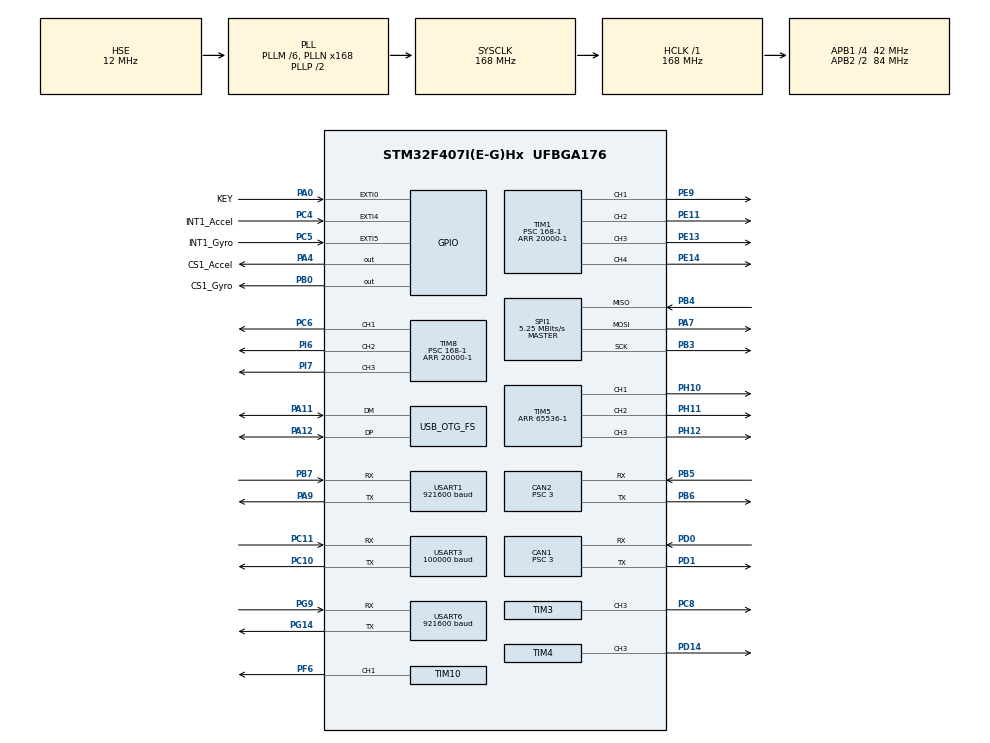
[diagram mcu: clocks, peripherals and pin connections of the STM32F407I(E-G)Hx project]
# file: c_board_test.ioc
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CAN1.BS1=CAN_BS1_10TQ
CAN1.BS2=CAN_BS2_3TQ
CAN1.CalculateBaudRate=1000000
CAN1.CalculateTimeBit=1000
CAN1.CalculateTimeQuantum=71.42857142857143
CAN1.NART=ENABLE
CAN1.Prescaler=3
CAN2.BS1=CAN_BS1_10TQ
CAN2.BS2=CAN_BS2_3TQ
CAN2.CalculateBaudRate=1000000
CAN2.CalculateTimeBit=1000
CAN2.CalculateTimeQuantum=71.42857142857143
CAN2.NART=ENABLE
CAN2.Prescaler=3
Dma.Request0=USART3_RX
Dma.Request1=USART1_RX
Dma.Request2=USART1_TX
Dma.Request3=USART6_RX
Dma.Request4=USART6_TX
Dma.Request5=SPI1_RX
Dma.Request6=SPI1_TX
Dma.SPI1_RX.5.Direction=DMA_PERIPH_TO_MEMORY
Dma.SPI1_RX.5.FIFOMode=DMA_FIFOMODE_DISABLE
Dma.SPI1_RX.5.Instance=DMA2_Stream0
Dma.SPI1_RX.5.MemDataAlignment=DMA_MDATAALIGN_BYTE
Dma.SPI1_RX.5.MemInc=DMA_MINC_ENABLE
Dma.SPI1_RX.5.Mode=DMA_NORMAL
Dma.SPI1_RX.5.PeriphDataAlignment=DMA_PDATAALIGN_BYTE
Dma.SPI1_RX.5.PeriphInc=DMA_PINC_DISABLE
Dma.SPI1_RX.5.Priority=DMA_PRIORITY_VERY_HIGH
Dma.SPI1_TX.6.Direction=DMA_MEMORY_TO_PERIPH
Dma.SPI1_TX.6.FIFOMode=DMA_FIFOMODE_DISABLE
Dma.SPI1_TX.6.Instance=DMA2_Stream3
Dma.SPI1_TX.6.MemDataAlignment=DMA_MDATAALIGN_BYTE
Dma.SPI1_TX.6.MemInc=DMA_MINC_ENABLE
Dma.SPI1_TX.6.Mode=DMA_NORMAL
Dma.SPI1_TX.6.PeriphDataAlignment=DMA_PDATAALIGN_BYTE
Dma.SPI1_TX.6.PeriphInc=DMA_PINC_DISABLE
Dma.SPI1_TX.6.Priority=DMA_PRIORITY_VERY_HIGH
Dma.USART1_RX.1.Direction=DMA_PERIPH_TO_MEMORY
Dma.USART1_RX.1.FIFOMode=DMA_FIFOMODE_DISABLE
Dma.USART1_RX.1.Instance=DMA2_Stream2
Dma.USART1_RX.1.MemDataAlignment=DMA_MDATAALIGN_BYTE
Dma.USART1_RX.1.MemInc=DMA_MINC_ENABLE
Dma.USART1_RX.1.Mode=DMA_NORMAL
Dma.USART1_RX.1.PeriphDataAlignment=DMA_PDATAALIGN_BYTE
Dma.USART1_RX.1.PeriphInc=DMA_PINC_DISABLE
Dma.USART1_RX.1.Priority=DMA_PRIORITY_MEDIUM
Dma.USART1_TX.2.Direction=DMA_MEMORY_TO_PERIPH
Dma.USART1_TX.2.FIFOMode=DMA_FIFOMODE_DISABLE
Dma.USART1_TX.2.Instance=DMA2_Stream7
Dma.USART1_TX.2.MemDataAlignment=DMA_MDATAALIGN_BYTE
Dma.USART1_TX.2.MemInc=DMA_MINC_ENABLE
Dma.USART1_TX.2.Mode=DMA_NORMAL
Dma.USART1_TX.2.PeriphDataAlignment=DMA_PDATAALIGN_BYTE
Dma.USART1_TX.2.PeriphInc=DMA_PINC_DISABLE
Dma.USART1_TX.2.Priority=DMA_PRIORITY_MEDIUM
Dma.USART3_RX.0.Direction=DMA_PERIPH_TO_MEMORY
Dma.USART3_RX.0.FIFOMode=DMA_FIFOMODE_DISABLE
Dma.USART3_RX.0.Instance=DMA1_Stream1
Dma.USART3_RX.0.MemDataAlignment=DMA_MDATAALIGN_BYTE
Dma.USART3_RX.0.MemInc=DMA_MINC_ENABLE
Dma.USART3_RX.0.Mode=DMA_NORMAL
Dma.USART3_RX.0.PeriphDataAlignment=DMA_PDATAALIGN_BYTE
Dma.USART3_RX.0.PeriphInc=DMA_PINC_DISABLE
Dma.USART3_RX.0.Priority=DMA_PRIORITY_VERY_HIGH
Dma.USART6_RX.3.Direction=DMA_PERIPH_TO_MEMORY
Dma.USART6_RX.3.FIFOMode=DMA_FIFOMODE_DISABLE
Dma.USART6_RX.3.Instance=DMA2_Stream1
Dma.USART6_RX.3.MemDataAlignment=DMA_MDATAALIGN_BYTE
Dma.USART6_RX.3.MemInc=DMA_MINC_ENABLE
Dma.USART6_RX.3.Mode=DMA_NORMAL
Dma.USART6_RX.3.PeriphDataAlignment=DMA_PDATAALIGN_BYTE
Dma.USART6_RX.3.PeriphInc=DMA_PINC_DISABLE
Dma.USART6_RX.3.Priority=DMA_PRIORITY_VERY_HIGH
Dma.USART6_TX.4.Direction=DMA_MEMORY_TO_PERIPH
Dma.USART6_TX.4.FIFOMode=DMA_FIFOMODE_DISABLE
Dma.USART6_TX.4.Instance=DMA2_Stream6
Dma.USART6_TX.4.MemDataAlignment=DMA_MDATAALIGN_BYTE
Dma.USART6_TX.4.MemInc=DMA_MINC_ENABLE
Dma.USART6_TX.4.Mode=DMA_NORMAL
Dma.USART6_TX.4.PeriphDataAlignment=DMA_PDATAALIGN_BYTE
Dma.USART6_TX.4.PeriphInc=DMA_PINC_DISABLE
Dma.USART6_TX.4.Priority=DMA_PRIORITY_HIGH
FREERTOS.Tasks01=defaultTask,24,256,StartDefaultTask,Default,NULL,Dynamic,NULL,NULL
FREERTOS.configENABLE_FPU=1
FREERTOS.configMINIMAL_STACK_SIZE=256
FREERTOS.configTOTAL_HEAP_SIZE=24576
Mcu.Family=STM32F4
Mcu.Name=STM32F407I(E-G)Hx
Mcu.Package=UFBGA176
NVIC.CAN1_RX0_IRQn=true\:5\:0\:false\:false\:true\:true\:true\:true\:true
NVIC.CAN2_RX0_IRQn=true\:5\:0\:false\:false\:true\:true\:true\:true\:true
NVIC.CAN2_RX1_IRQn=true\:5\:0\:false\:false\:true\:true\:true\:true\:true
NVIC.DMA1_Stream1_IRQn=true\:5\:0\:false\:false\:true\:true\:false\:true\:true
NVIC.DMA2_Stream0_IRQn=true\:5\:0\:false\:false\:true\:true\:false\:true\:true
NVIC.DMA2_Stream1_IRQn=true\:5\:0\:false\:false\:true\:true\:false\:true\:true
NVIC.DMA2_Stream2_IRQn=true\:5\:0\:false\:false\:true\:true\:false\:true\:true
NVIC.DMA2_Stream3_IRQn=true\:5\:0\:false\:false\:true\:true\:false\:true\:true
NVIC.DMA2_Stream6_IRQn=true\:5\:0\:false\:false\:true\:true\:false\:true\:true
NVIC.DMA2_Stream7_IRQn=true\:5\:0\:false\:false\:true\:true\:false\:true\:true
NVIC.EXTI0_IRQn=true\:7\:0\:true\:false\:true\:false\:true\:true\:true
NVIC.EXTI4_IRQn=true\:5\:0\:true\:false\:true\:false\:true\:true\:true
NVIC.EXTI9_5_IRQn=true\:5\:0\:true\:false\:true\:false\:true\:true\:true
NVIC.OTG_FS_IRQn=true\:5\:0\:false\:false\:true\:true\:false\:true\:true
NVIC.PriorityGroup=NVIC_PRIORITYGROUP_4
NVIC.TIM7_IRQn=true\:15\:0\:false\:false\:true\:false\:false\:true\:true
NVIC.TimeBase=TIM7_IRQn
NVIC.TimeBaseIP=TIM7
NVIC.USART1_IRQn=true\:5\:0\:false\:false\:true\:true\:true\:true\:true
NVIC.USART3_IRQn=true\:5\:0\:false\:false\:true\:true\:true\:true\:true
NVIC.USART6_IRQn=true\:5\:0\:false\:false\:true\:true\:true\:true\:true
PA0-WKUP.GPIO_Label=KEY
PA0-WKUP.GPIO_ModeDefaultEXTI=GPIO_MODE_IT_RISING_FALLING
PA0-WKUP.GPIO_PuPd=GPIO_PULLUP
PA0-WKUP.Signal=GPXTI0
PA11.Mode=Device_Only
PA11.Signal=USB_OTG_FS_DM
PA12.Mode=Device_Only
PA12.Signal=USB_OTG_FS_DP
PA13.Mode=Serial_Wire
PA13.Signal=SYS_JTMS-SWDIO
PA14.Mode=Serial_Wire
PA14.Signal=SYS_JTCK-SWCLK
PA4.GPIO_Label=CS1_Accel
PA4.GPIO_Speed=GPIO_SPEED_FREQ_VERY_HIGH
PA4.PinState=GPIO_PIN_SET
PA4.Signal=GPIO_Output
PA7.Mode=Full_Duplex_Master
PA7.Signal=SPI1_MOSI
PA9.Mode=Asynchronous
PA9.Signal=USART1_TX
PB0.GPIO_Label=CS1_Gyro
PB0.GPIO_Speed=GPIO_SPEED_FREQ_VERY_HIGH
PB0.PinState=GPIO_PIN_SET
PB0.Signal=GPIO_Output
PB3.Mode=Full_Duplex_Master
PB3.Signal=SPI1_SCK
PB4.Mode=Full_Duplex_Master
PB4.Signal=SPI1_MISO
PB5.Mode=CAN_Activate
PB5.Signal=CAN2_RX
PB6.Mode=CAN_Activate
PB6.Signal=CAN2_TX
PB7.Mode=Asynchronous
PB7.Signal=USART1_RX
PC10.Mode=Asynchronous
PC10.Signal=USART3_TX
PC11.Mode=Asynchronous
PC11.Signal=USART3_RX
PC4.GPIO_Label=INT1_Accel
PC4.Signal=GPXTI4
PC5.GPIO_Label=INT1_Gyro
PC5.Signal=GPXTI5
PC6.Signal=S_TIM8_CH1
PC8.Signal=S_TIM3_CH3
PD0.Mode=CAN_Activate
PD0.Signal=CAN1_RX
PD1.Mode=CAN_Activate
PD1.Signal=CAN1_TX
PD14.Signal=S_TIM4_CH3
PE11.Signal=S_TIM1_CH2
PE13.Signal=S_TIM1_CH3
PE14.Signal=S_TIM1_CH4
PE9.Signal=S_TIM1_CH1
PF6.Signal=S_TIM10_CH1
PG14.Mode=Asynchronous
PG14.Signal=USART6_TX
PG9.Mode=Asynchronous
PG9.Signal=USART6_RX
PH0-OSC_IN.Mode=HSE-External-Oscillator
PH0-OSC_IN.Signal=RCC_OSC_IN
PH1-OSC_OUT.Mode=HSE-External-Oscillator
PH1-OSC_OUT.Signal=RCC_OSC_OUT
PH10.Signal=S_TIM5_CH1
PH11.Signal=S_TIM5_CH2
PH12.Signal=S_TIM5_CH3
PI6.Signal=S_TIM8_CH2
PI7.Signal=S_TIM8_CH3
ProjectManager.HeapSize=0x200
ProjectManager.StackSize=0x400
ProjectManager.TargetToolchain=CMake
RCC.48MHZClocksFreq_Value=48000000
RCC.AHBFreq_Value=168000000
RCC.APB1CLKDivider=RCC_HCLK_DIV4
RCC.APB1Freq_Value=42000000
RCC.APB1TimFreq_Value=84000000
RCC.APB2CLKDivider=RCC_HCLK_DIV2
RCC.APB2Freq_Value=84000000
RCC.APB2TimFreq_Value=168000000
RCC.CortexFreq_Value=168000000
RCC.HCLKFreq_Value=168000000
RCC.HSE_VALUE=12000000
RCC.HSI_VALUE=16000000
RCC.LSE_VALUE=32768
RCC.PLLM=6
RCC.PLLN=168
RCC.PLLQ=7
RCC.SYSCLKFreq_VALUE=168000000
RCC.SYSCLKSource=RCC_SYSCLKSOURCE_PLLCLK
RCC.VCOOutputFreq_Value=336000000
SH.S_TIM10_CH1.0=TIM10_CH1,PWM Generation1 CH1
SH.S_TIM1_CH1.0=TIM1_CH1,PWM Generation1 CH1
SH.S_TIM1_CH2.0=TIM1_CH2,PWM Generation2 CH2
SH.S_TIM1_CH3.0=TIM1_CH3,PWM Generation3 CH3
SH.S_TIM1_CH4.0=TIM1_CH4,PWM Generation4 CH4
SH.S_TIM3_CH3.0=TIM3_CH3,PWM Generation3 CH3
SH.S_TIM4_CH3.0=TIM4_CH3,PWM Generation3 CH3
SH.S_TIM5_CH1.0=TIM5_CH1,PWM Generation1 CH1
SH.S_TIM5_CH2.0=TIM5_CH2,PWM Generation2 CH2
SH.S_TIM5_CH3.0=TIM5_CH3,PWM Generation3 CH3
SH.S_TIM8_CH1.0=TIM8_CH1,PWM Generation1 CH1
SH.S_TIM8_CH2.0=TIM8_CH2,PWM Generation2 CH2
SH.S_TIM8_CH3.0=TIM8_CH3,PWM Generation3 CH3
SPI1.BaudRatePrescaler=SPI_BAUDRATEPRESCALER_16
SPI1.CLKPhase=SPI_PHASE_2EDGE
SPI1.CLKPolarity=SPI_POLARITY_HIGH
SPI1.CalculateBaudRate=5.25 MBits/s
SPI1.Direction=SPI_DIRECTION_2LINES
SPI1.Mode=SPI_MODE_MASTER
SPI1.VirtualType=VM_MASTER
STMicroelectronics.X-CUBE-ALGOBUILD.1.5.0.LibraryCcDSPOoLibraryJjDSPOoLibrary=true
TIM1.AutoReloadPreload=TIM_AUTORELOAD_PRELOAD_ENABLE
TIM1.Channel-PWM\ Generation1\ CH1=TIM_CHANNEL_1
TIM1.Channel-PWM\ Generation2\ CH2=TIM_CHANNEL_2
TIM1.Channel-PWM\ Generation3\ CH3=TIM_CHANNEL_3
TIM1.Channel-PWM\ Generation4\ CH4=TIM_CHANNEL_4
TIM1.Period=20000-1
TIM1.Prescaler=168-1
TIM10.Channel=TIM_CHANNEL_1
TIM3.AutoReloadPreload=TIM_AUTORELOAD_PRELOAD_ENABLE
TIM3.Channel-PWM\ Generation3\ CH3=TIM_CHANNEL_3
TIM3.Period=1000-1
TIM3.Prescaler=84-1
TIM4.AutoReloadPreload=TIM_AUTORELOAD_PRELOAD_ENABLE
TIM4.Channel-PWM\ Generation3\ CH3=TIM_CHANNEL_3
TIM4.Period=20999
TIM5.AutoReloadPreload=TIM_AUTORELOAD_PRELOAD_ENABLE
TIM5.Channel-PWM\ Generation1\ CH1=TIM_CHANNEL_1
TIM5.Channel-PWM\ Generation2\ CH2=TIM_CHANNEL_2
TIM5.Channel-PWM\ Generation3\ CH3=TIM_CHANNEL_3
TIM5.Period=65536-1
TIM8.AutoReloadPreload=TIM_AUTORELOAD_PRELOAD_ENABLE
TIM8.Channel-PWM\ Generation1\ CH1=TIM_CHANNEL_1
TIM8.Channel-PWM\ Generation2\ CH2=TIM_CHANNEL_2
TIM8.Channel-PWM\ Generation3\ CH3=TIM_CHANNEL_3
TIM8.Period=20000-1
TIM8.Prescaler=168-1
USART1.BaudRate=921600
USART1.VirtualMode=VM_ASYNC
USART3.BaudRate=100000
USART3.Mode=MODE_RX
USART3.Parity=PARITY_EVEN
USART3.VirtualMode=VM_ASYNC
USART3.WordLength=WORDLENGTH_9B
USART6.BaudRate=921600
USART6.VirtualMode=VM_ASYNC
USB_DEVICE.CLASS_NAME_FS=CDC
USB_DEVICE.VirtualMode-CDC_FS=Cdc
USB_DEVICE.VirtualModeFS=Cdc_FS
USB_OTG_FS.VirtualMode=Device_Only
VP_FREERTOS_VS_CMSIS_V2.Mode=CMSIS_V2
VP_STMicroelectronics.X-CUBE-ALGOBUILD_VS_DSPOoLibraryJjLibrary_1.5.0_1.5.0.Mode=DSPOoLibraryJjLibrary
VP_SYS_VS_tim7.Mode=TIM7
VP_TIM10_VS_ClockSourceINT.Mode=Enable_Timer
VP_TIM1_VS_ClockSourceINT.Mode=Internal
VP_TIM3_VS_ClockSourceINT.Mode=Internal
VP_TIM4_VS_ClockSourceINT.Mode=Internal
VP_TIM5_VS_ClockSourceINT.Mode=Internal
VP_TIM8_VS_ClockSourceINT.Mode=Internal
VP_USB_DEVICE_VS_USB_DEVICE_CDC_FS.Mode=CDC_FS
board=custom

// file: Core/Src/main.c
/* USER CODE BEGIN Header */
/**
  ******************************************************************************
  * @file           : main.c
  * @brief          : Main program body
  ******************************************************************************
  * @attention
  *
  * Copyright (c) 2026 STMicroelectronics.
  * All rights reserved.
  *
  * This software is licensed under terms that can be found in the LICENSE file
  * in the root directory of this software component.
  * If no LICENSE file comes with this software, it is provided AS-IS.
  *
  ******************************************************************************
  */
/* USER CODE END Header */
#include "main.h"
#include "cmsis_os.h"
#include "can.h"
#include "dma.h"
#include "spi.h"
#include "tim.h"
#include "usart.h"
#include "usb_device.h"
#include "gpio.h"

/* USER CODE BEGIN Includes */
#include "bsp_gpio.h"
#include "bsp_pwm.h"
/* USER CODE END Includes */

void SystemClock_Config(void);
void MX_FREERTOS_Init(void);

int main(void)
{

  /* MCU Configuration--------------------------------------------------------*/

  /* Reset of all peripherals, Initializes the Flash interface and the Systick. */
  HAL_Init();

  /* Configure the system clock */
  SystemClock_Config();

  /* Initialize all configured peripherals */
  MX_GPIO_Init();
  MX_DMA_Init();
  MX_CAN1_Init();
  MX_CAN2_Init();
  MX_SPI1_Init();
  MX_USART1_UART_Init();
  MX_USART3_UART_Init();
  MX_USART6_UART_Init();
  MX_TIM3_Init();
  MX_TIM1_Init();
  MX_TIM4_Init();
  MX_TIM5_Init();
  MX_TIM8_Init();
  MX_TIM10_Init();
  /* USER CODE BEGIN 2 */

  //bsp_init
  BSP_GPIO_Set(BSP_GPIO_BMI088_ACCEL_CS,1);
  BSP_GPIO_Set(BSP_GPIO_BMI088_GYRO_CS,1);

  BSP_PWM_Start(BSP_PWM_TIM5_CH1);
  BSP_PWM_Start(BSP_PWM_TIM5_CH2);
  BSP_PWM_Start(BSP_PWM_TIM5_CH3);

  /* USER CODE END 2 */

  /* Init scheduler */
  osKernelInitialize();  /* Call init function for freertos objects (in cmsis_os2.c) */
  MX_FREERTOS_Init();

  /* Start scheduler */
  osKernelStart();

  /* We should never get here as control is now taken by the scheduler */

  /* Infinite loop */
  while (1)
  {

  }
}

void SystemClock_Config(void)
{
  RCC_OscInitTypeDef RCC_OscInitStruct = {0};
  RCC_ClkInitTypeDef RCC_ClkInitStruct = {0};

  /** Configure the main internal regulator output voltage
  */
  __HAL_RCC_PWR_CLK_ENABLE();
  __HAL_PWR_VOLTAGESCALING_CONFIG(PWR_REGULATOR_VOLTAGE_SCALE1);

  /** Initializes the RCC Oscillators according to the specified parameters
  * in the RCC_OscInitTypeDef structure.
  */
  RCC_OscInitStruct.OscillatorType = RCC_OSCILLATORTYPE_HSE;
  RCC_OscInitStruct.HSEState = RCC_HSE_ON;
  RCC_OscInitStruct.PLL.PLLState = RCC_PLL_ON;
  RCC_OscInitStruct.PLL.PLLSource = RCC_PLLSOURCE_HSE;
  RCC_OscInitStruct.PLL.PLLM = 6;
  RCC_OscInitStruct.PLL.PLLN = 168;
  RCC_OscInitStruct.PLL.PLLP = RCC_PLLP_DIV2;
  RCC_OscInitStruct.PLL.PLLQ = 7;
  if (HAL_RCC_OscConfig(&RCC_OscInitStruct) != HAL_OK)
  {
    Error_Handler();
  }

  /** Initializes the CPU, AHB and APB buses clocks
  */
  RCC_ClkInitStruct.ClockType = RCC_CLOCKTYPE_HCLK|RCC_CLOCKTYPE_SYSCLK
                              |RCC_CLOCKTYPE_PCLK1|RCC_CLOCKTYPE_PCLK2;
  RCC_ClkInitStruct.SYSCLKSource = RCC_SYSCLKSOURCE_PLLCLK;
  RCC_ClkInitStruct.AHBCLKDivider = RCC_SYSCLK_DIV1;
  RCC_ClkInitStruct.APB1CLKDivider = RCC_HCLK_DIV4;
  RCC_ClkInitStruct.APB2CLKDivider = RCC_HCLK_DIV2;

  if (HAL_RCC_ClockConfig(&RCC_ClkInitStruct, FLASH_LATENCY_5) != HAL_OK)
  {
    Error_Handler();
  }
}

void HAL_TIM_PeriodElapsedCallback(TIM_HandleTypeDef *htim)
{
  if (htim->Instance == TIM7)
  {
    HAL_IncTick();
  }
}

void Error_Handler(void)
{
  __disable_irq();
  while (1)
  {
  }
}

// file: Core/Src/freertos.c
/* USER CODE BEGIN Header */
/**
  ******************************************************************************
  * File Name          : freertos.c
  * Description        : Code for freertos applications
  ******************************************************************************
  * @attention
  *
  * Copyright (c) 2026 STMicroelectronics.
  * All rights reserved.
  *
  * This software is licensed under terms that can be found in the LICENSE file
  * in the root directory of this software component.
  * If no LICENSE file comes with this software, it is provided AS-IS.
  *
  ******************************************************************************
  */
/* USER CODE END Header */

#include "FreeRTOS.h"
#include "task.h"
#include "main.h"
#include "cmsis_os.h"

/* USER CODE BEGIN Includes */

#include "led_task.h"
#define CCMRAM __attribute__((section(".ccmram")))

CCMRAM uint16_t buf[256];
/* USER CODE END Includes */

/* Definitions for defaultTask */
osThreadId_t defaultTaskHandle;
const osThreadAttr_t defaultTask_attributes = {
  .name = "defaultTask",
  .stack_size = 256 * 4,
  .priority = (osPriority_t) osPriorityNormal,
};

/* USER CODE BEGIN FunctionPrototypes */
osThreadId_t ledTaskHandle;
const osThreadAttr_t ledTask_attributes = {
  .name = "ledTask",
  .stack_size = 256 * 4,
  .priority = (osPriority_t) osPriorityNormal,
};

/* USER CODE END FunctionPrototypes */

void StartDefaultTask(void *argument);

extern void MX_USB_DEVICE_Init(void);
void MX_FREERTOS_Init(void); /* (MISRA C 2004 rule 8.1) */

void MX_FREERTOS_Init(void) {

  /* Create the thread(s) */
  /* creation of defaultTask */
  defaultTaskHandle = osThreadNew(StartDefaultTask, NULL, &defaultTask_attributes);

  /* USER CODE BEGIN RTOS_THREADS */
  /* add threads, ... */

  ledTaskHandle = osThreadNew(LED_Task, NULL, &ledTask_attributes);
  /* USER CODE END RTOS_THREADS */

}

void StartDefaultTask(void *argument)
{
  /* init code for USB_DEVICE */
  MX_USB_DEVICE_Init();
  /* USER CODE BEGIN StartDefaultTask */
  /* Infinite loop */
  for(;;)
  {

    for(int i = 0; i < 256; i++)
    {
      buf[i] = i;
    }
    osDelay(1);
  }
  /* USER CODE END StartDefaultTask */
}
